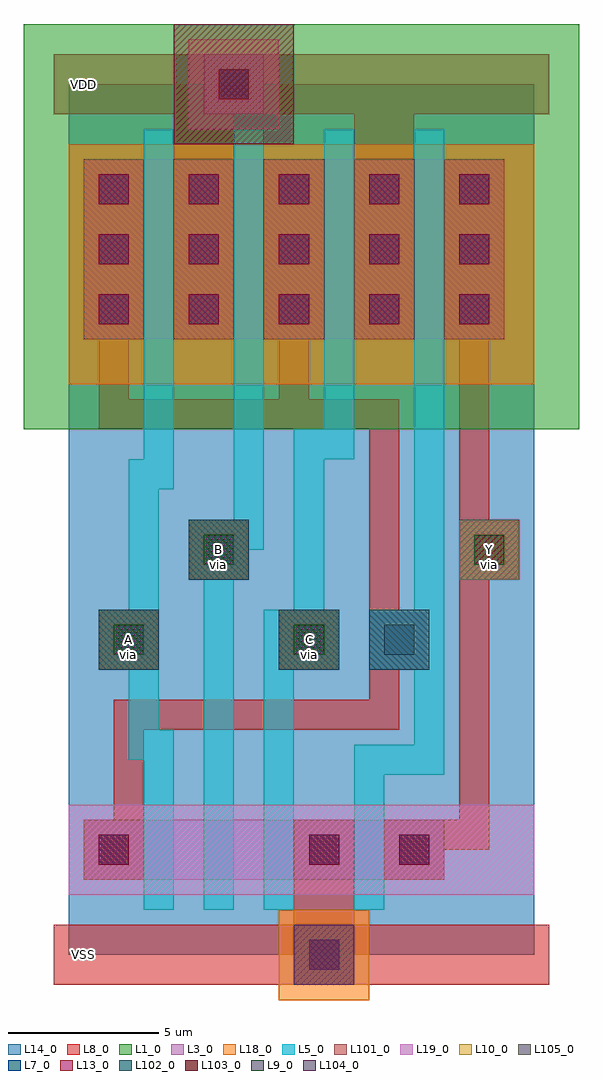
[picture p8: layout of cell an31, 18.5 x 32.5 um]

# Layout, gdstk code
import gdstk
lib = gdstk.Library(unit=1e-6, precision=1e-09)
def R(c, l, rs):  # rectangles x0, y0, x1, y1
    for r in rs: c.add(gdstk.rectangle(r[:2], r[2:], *l))
L1_0 = (1, 0)
L3_0 = (3, 0)
L5_0 = (5, 0)
L7_0 = (7, 0)
L8_0 = (8, 0)
L9_0 = (9, 0)
L10_0 = (10, 0)
L13_0 = (13, 0)
L14_0 = (14, 0)
L18_0 = (18, 0)
L19_0 = (19, 0)
L101_0 = (101, 0)
L102_0 = (102, 0)
L103_0 = (103, 0)
L104_0 = (104, 0)
L105_0 = (105, 0)

dcont = lib.new_cell('dcont')
R(dcont, L3_0, [(-1,-1,1,1)])
R(dcont, L7_0, [(-0.5,-0.5,0.5,0.5)])
R(dcont, L8_0, [(-1,-1,1,1)])
R(dcont, L13_0, [(-0.5,-0.5,0.5,0.5)])
R(dcont, L101_0, [(-1,-1,1,1)])
dcont.add(gdstk.Label('dcont', (0,0), layer=13, texttype=0))

pcont = lib.new_cell('pcont')
R(pcont, L5_0, [(-1,-1,1,1)])
R(pcont, L7_0, [(-0.5,-0.5,0.5,0.5)])
R(pcont, L8_0, [(-1,-1,1,1)])
R(pcont, L102_0, [(-1,-1,1,1)])
pcont.add(gdstk.Label('pcont', (0,0), layer=13, texttype=0))

via = lib.new_cell('Via')
R(via, L8_0, [(-1,-1,1,1)])
R(via, L9_0, [(-0.5,-0.5,0.5,0.5)])
R(via, L10_0, [(-1,-1,1,1)])
R(via, L13_0, [(-0.5,-0.5,0.5,0.5)])
R(via, L105_0, [(-1,-1,1,1)])
via.add(gdstk.Label('via', (0,0), layer=13, texttype=0))

psubcont = lib.new_cell('psubcont')
R(psubcont, L18_0, [(-1.5,-1.5,1.5,1.5)])
R(psubcont, L104_0, [(-1,-1,1,1)])
psubcont.add(gdstk.Reference(dcont, (0,0)))
psubcont.add(gdstk.Label('PScon', (0,0), layer=13, texttype=0))

nsubcont = lib.new_cell('nsubcont')
R(nsubcont, L1_0, [(-2,-2,2,2)])
R(nsubcont, L19_0, [(-1.5,-1.5,1.5,1.5)])
R(nsubcont, L103_0, [(-2,-2,2,2)])
nsubcont.add(gdstk.Reference(dcont, (0,0)))
nsubcont.add(gdstk.Label('NScont', (0,0), layer=13, texttype=0))

an31 = lib.new_cell('an31')
R(an31, L1_0, [(-1.5,17.5,17,31)])
R(an31, L3_0, [(0.5,2.5,12.5,4.5), (0.5,20.5,14.5,26.5)])
R(an31, L8_0, [(-0.5,-1,16,1), (-0.5,-1,16,1), (1,9.5,3,11.5), (1,9.5,3,11.5), (7,9.5,9,11.5), (7,9.5,9,11.5), (4,12.5,6,14.5), (4,12.5,6,14.5), (13,12.5,15,14.5), (13,12.5,15,14.5), (-0.5,28,16,30), (-0.5,28,16,30)])
R(an31, L10_0, [(1,9.5,3,11.5), (1,9.5,3,11.5), (7,9.5,9,11.5), (7,9.5,9,11.5), (4,12.5,6,14.5), (4,12.5,6,14.5), (13,12.5,15,14.5), (13,12.5,15,14.5)])
R(an31, L14_0, [(0,0,15.5,29)])
R(an31, L18_0, [(0,19,15.5,27)])
R(an31, L19_0, [(0,2,15.5,5)])
R(an31, L105_0, [(1,9.5,3,11.5), (7,9.5,9,11.5), (4,12.5,6,14.5), (13,12.5,15,14.5)])
an31.add(gdstk.FlexPath([(3,27),(3,16),(2.5,16),(2.5,7),(3,7),(3,2)], 1, ends="extended", simple_path=True, layer=5, datatype=0))  # L5_0
an31.add(gdstk.FlexPath([(6,27),(6,14),(5,14),(5,2)], 1, ends="extended", simple_path=True, layer=5, datatype=0))  # L5_0
an31.add(gdstk.FlexPath([(9,27),(9,17),(8,17),(8,11),(7,11),(7,2)], 1, ends="extended", simple_path=True, layer=5, datatype=0))  # L5_0
an31.add(gdstk.FlexPath([(12,27),(12,6.5),(10,6.5),(10,2)], 1, ends="extended", simple_path=True, layer=5, datatype=0))  # L5_0
an31.add(gdstk.FlexPath([(1.5,22.3),(1.5,25.5)], 1.4, ends="extended", simple_path=True, layer=8, datatype=0))  # L8_0
an31.add(gdstk.FlexPath([(4.5,21.5),(4.5,28.5)], 2, ends="extended", simple_path=True, layer=8, datatype=0))  # L8_0
an31.add(gdstk.FlexPath([(1.5,21.5),(1.5,18),(10.5,18),(10.5,8),(2,8),(2,3.8)], 1, ends="extended", simple_path=True, layer=8, datatype=0))  # L8_0
an31.add(gdstk.FlexPath([(7.5,21.5),(7.5,18)], 1, ends="extended", simple_path=True, layer=8, datatype=0))  # L8_0
an31.add(gdstk.FlexPath([(7.5,22.3),(7.5,25.5)], 1.4, ends="extended", simple_path=True, layer=8, datatype=0))  # L8_0
an31.add(gdstk.FlexPath([(8.5,0),(8.5,3.5)], 2, ends="extended", simple_path=True, layer=8, datatype=0))  # L8_0
an31.add(gdstk.FlexPath([(10.5,21.5),(10.5,28.5)], 2, ends="extended", simple_path=True, layer=8, datatype=0))  # L8_0
an31.add(gdstk.FlexPath([(10.5,22.3),(10.5,25.5)], 1.4, ends="extended", simple_path=True, layer=8, datatype=0))  # L8_0
an31.add(gdstk.FlexPath([(13.5,22.3),(13.5,25.5)], 1.4, ends="extended", simple_path=True, layer=8, datatype=0))  # L8_0
an31.add(gdstk.FlexPath([(13.5,25.5),(13.5,4),(11.5,4),(11.5,3.8)], 1, ends="extended", simple_path=True, layer=8, datatype=0))  # L8_0
an31.add(gdstk.Reference(dcont, (4.5,25.5)))
an31.add(gdstk.Reference(dcont, (1.5,23.5)))
an31.add(gdstk.Reference(pcont, (5,13.5)))
an31.add(gdstk.Reference(pcont, (11,10.5)))
an31.add(gdstk.Reference(via, (8,10.5)))
an31.add(gdstk.Reference(dcont, (4.5,21.5)))
an31.add(gdstk.Reference(dcont, (7.5,23.5)))
an31.add(gdstk.Reference(pcont, (8,10.5)))
an31.add(gdstk.Reference(psubcont, (8.5,0)))
an31.add(gdstk.Reference(dcont, (10.5,23.5)))
an31.add(gdstk.Reference(dcont, (13.5,21.5)))
an31.add(gdstk.Reference(via, (14,13.5)))
an31.add(gdstk.Reference(dcont, (1.5,3.5)))
an31.add(gdstk.Reference(pcont, (2,10.5)))
an31.add(gdstk.Reference(dcont, (4.5,23.5)))
an31.add(gdstk.Reference(dcont, (13.5,23.5)))
an31.add(gdstk.Reference(dcont, (7.5,21.5)))
an31.add(gdstk.Reference(via, (2,10.5)))
an31.add(gdstk.Reference(dcont, (1.5,21.5)))
an31.add(gdstk.Reference(via, (5,13.5)))
an31.add(gdstk.Reference(dcont, (8.5,3.5)))
an31.add(gdstk.Reference(dcont, (1.5,25.5)))
an31.add(gdstk.Reference(dcont, (13.5,25.5)))
an31.add(gdstk.Reference(nsubcont, (5.5,29)))
an31.add(gdstk.Reference(dcont, (11.5,3.5)))
an31.add(gdstk.Reference(dcont, (7.5,25.5)))
an31.add(gdstk.Reference(dcont, (10.5,25.5)))
an31.add(gdstk.Reference(dcont, (10.5,21.5)))
an31.add(gdstk.Label('VSS', (0.5,0), layer=8, texttype=0))
an31.add(gdstk.Label('VDD', (0.5,29), layer=8, texttype=0))
an31.add(gdstk.Label('A', (2,10.5), layer=10, texttype=0))
an31.add(gdstk.Label('B', (5,13.5), layer=10, texttype=0))
an31.add(gdstk.Label('C', (8,10.5), layer=10, texttype=0))
an31.add(gdstk.Label('Y', (14,13.5), layer=10, texttype=0))
an31.add(gdstk.Label('via', (8,10), layer=13, texttype=0))
an31.add(gdstk.Label('via', (2,10), layer=13, texttype=0))
an31.add(gdstk.Label('via', (5,13), layer=13, texttype=0))
an31.add(gdstk.Label('via', (14,13), layer=13, texttype=0))

lib.write_gds('an31.gds')
